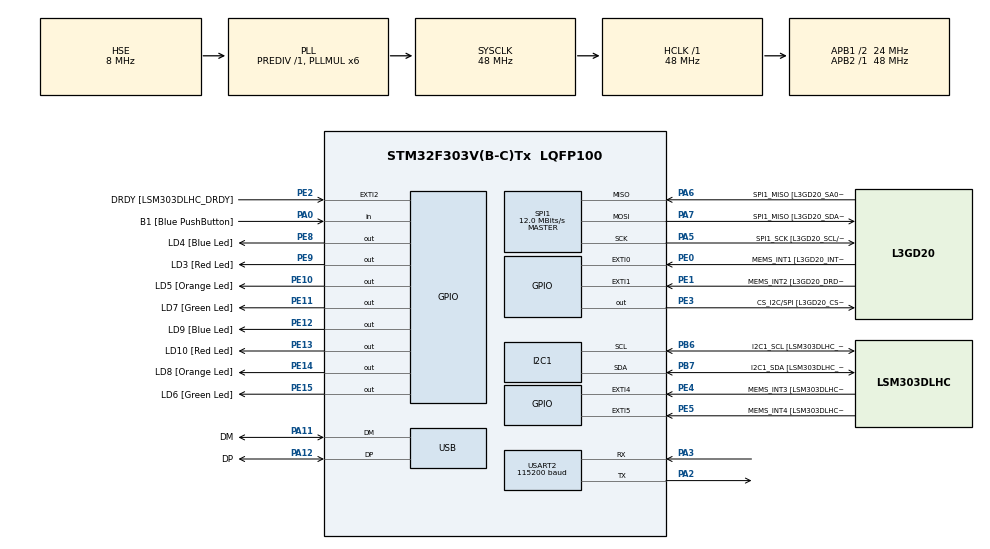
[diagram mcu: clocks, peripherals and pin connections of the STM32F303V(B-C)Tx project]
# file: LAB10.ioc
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I2C1.Timing=0x2000090E
I2C1.Timing-I2C=0x2000090E
Mcu.Family=STM32F3
Mcu.Name=STM32F303V(B-C)Tx
Mcu.Package=LQFP100
NVIC.PriorityGroup=NVIC_PRIORITYGROUP_0
PA0.GPIO_Label=B1 [Blue PushButton]
PA0.Signal=GPIO_Input
PA11.GPIO_Label=DM
PA11.Mode=Device
PA11.Signal=USB_DM
PA12.GPIO_Label=DP
PA12.Mode=Device
PA12.Signal=USB_DP
PA13.GPIO_Label=SWDIO
PA13.Mode=Serial_Wire
PA13.Signal=SYS_JTMS-SWDIO
PA14.GPIO_Label=SWCLK
PA14.Mode=Serial_Wire
PA14.Signal=SYS_JTCK-SWCLK
PA2.Mode=Asynchronous
PA2.Signal=USART2_TX
PA3.Mode=Asynchronous
PA3.Signal=USART2_RX
PA5.GPIO_Label=SPI1_SCK [L3GD20_SCL/SPC]
PA5.Mode=Full_Duplex_Master
PA5.Signal=SPI1_SCK
PA6.GPIO_Label=SPI1_MISO [L3GD20_SA0/SDO]
PA6.Mode=Full_Duplex_Master
PA6.Signal=SPI1_MISO
PA7.GPIO_Label=SPI1_MISO [L3GD20_SDA/SDI/SDO]
PA7.Mode=Full_Duplex_Master
PA7.Signal=SPI1_MOSI
PB3.GPIO_Label=SWO
PB3.Signal=SYS_JTDO-TRACESWO
PB6.GPIO_Label=I2C1_SCL [LSM303DLHC_SCL]
PB6.GPIO_Pu=GPIO_PULLUP
PB6.Mode=I2C
PB6.Signal=I2C1_SCL
PB7.GPIO_Label=I2C1_SDA [LSM303DLHC_SDA]
PB7.GPIO_Pu=GPIO_PULLUP
PB7.Mode=I2C
PB7.Signal=I2C1_SDA
PC14-OSC32_IN.GPIO_Label=OSC32_IN
PC14-OSC32_IN.Signal=RCC_OSC32_IN
PC15-OSC32_OUT.GPIO_Label=OSC32_OUT
PC15-OSC32_OUT.Signal=RCC_OSC32_OUT
PE0.GPIO_Label=MEMS_INT1 [L3GD20_INT1]
PE0.GPIO_ModeDefaultEXTI=GPIO_MODE_EVT_RISING
PE0.Signal=GPXTI0
PE1.GPIO_Label=MEMS_INT2 [L3GD20_DRDY/INT2]
PE1.GPIO_ModeDefaultEXTI=GPIO_MODE_EVT_RISING
PE1.Signal=GPXTI1
PE10.GPIO_Label=LD5 [Orange Led]
PE10.Signal=GPIO_Output
PE11.GPIO_Label=LD7 [Green Led]
PE11.Signal=GPIO_Output
PE12.GPIO_Label=LD9 [Blue Led]
PE12.Signal=GPIO_Output
PE13.GPIO_Label=LD10 [Red Led]
PE13.Signal=GPIO_Output
PE14.GPIO_Label=LD8 [Orange Led]
PE14.Signal=GPIO_Output
PE15.GPIO_Label=LD6 [Green Led]
PE15.Signal=GPIO_Output
PE2.GPIO_Label=DRDY [LSM303DLHC_DRDY]
PE2.GPIO_ModeDefaultEXTI=GPIO_MODE_EVT_RISING
PE2.Signal=GPXTI2
PE3.GPIO_Label=CS_I2C/SPI [L3GD20_CS_I2C/SPI]
PE3.Signal=GPIO_Output
PE4.GPIO_Label=MEMS_INT3 [LSM303DLHC_INT1]
PE4.GPIO_ModeDefaultEXTI=GPIO_MODE_EVT_RISING
PE4.Signal=GPXTI4
PE5.GPIO_Label=MEMS_INT4 [LSM303DLHC_INT2]
PE5.GPIO_ModeDefaultEXTI=GPIO_MODE_EVT_RISING
PE5.Signal=GPXTI5
PE8.GPIO_Label=LD4 [Blue Led]
PE8.Signal=GPIO_Output
PE9.GPIO_Label=LD3 [Red Led]
PE9.Signal=GPIO_Output
PF0-OSC_IN.GPIO_Label=OSC_IN
PF0-OSC_IN.Mode=HSE-External-Clock-Source
PF0-OSC_IN.Signal=RCC_OSC_IN
PF1-OSC_OUT.GPIO_Label=OSC_OUT
PF1-OSC_OUT.Signal=RCC_OSC_OUT
ProjectManager.HeapSize=0x200
ProjectManager.StackSize=0x400
ProjectManager.TargetToolchain=CMake
RCC.AHBFreq_Value=48000000
RCC.APB1CLKDivider=RCC_HCLK_DIV2
RCC.APB1Freq_Value=24000000
RCC.APB1TimFreq_Value=48000000
RCC.APB2Freq_Value=48000000
RCC.APB2TimFreq_Value=48000000
RCC.CortexFreq_Value=48000000
RCC.HCLKFreq_Value=48000000
RCC.HSE_VALUE=8000000
RCC.HSI_VALUE=8000000
RCC.LSE_VALUE=32768
RCC.PLLMUL=RCC_PLL_MUL6
RCC.SYSCLKFreq_VALUE=48000000
RCC.SYSCLKSourceVirtual=RCC_SYSCLKSOURCE_PLLCLK
RCC.USBFreq_Value=48000000
SPI1.BaudRatePrescaler=SPI_BAUDRATEPRESCALER_4
SPI1.BaudRatePrescaler-Full_Duplex_Master=SPI_BAUDRATEPRESCALER_2
SPI1.CalculateBaudRate=12.0 MBits/s
SPI1.CalculateBaudRate-Full_Duplex_Master=24.0 MBits/s
SPI1.Direction=SPI_DIRECTION_2LINES
SPI1.Mode=SPI_MODE_MASTER
SPI1.Mode-Full_Duplex_Master=SPI_MODE_MASTER
SPI1.VirtualType=VM_MASTER
USART2.BaudRate=115200
USART2.VirtualMode-Asynchronous=VM_ASYNC
board=STM32F3DISCOVERY

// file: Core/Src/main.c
/* USER CODE BEGIN Header */
/**
  ******************************************************************************
  * @file           : main.c
  * @brief          : Main program body
  ******************************************************************************
  * @attention
  *
  * Copyright (c) 2025 STMicroelectronics.
  * All rights reserved.
  *
  * This software is licensed under terms that can be found in the LICENSE file
  * in the root directory of this software component.
  * If no LICENSE file comes with this software, it is provided AS-IS.
  *
  ******************************************************************************
  */
/* USER CODE END Header */
#include "main.h"
#include "heap_driver.h"
#include <stdlib.h>
#include <string.h>
#include <stdio.h>
#include <stdarg.h>

I2C_HandleTypeDef hi2c1;

SPI_HandleTypeDef hspi1;

UART_HandleTypeDef huart2;

PCD_HandleTypeDef hpcd_USB_FS;

/* USER CODE BEGIN PV */
#define N 10  // Number of elements

/* USER CODE END PV */

void SystemClock_Config(void);
static void MX_GPIO_Init(void);
static void MX_I2C1_Init(void);
static void MX_SPI1_Init(void);
static void MX_USART2_UART_Init(void);
static void MX_USB_PCD_Init(void);

/* USER CODE BEGIN 0 */
void UART_Print(const char* str) {
    HAL_UART_Transmit(&huart2, (uint8_t*)str, strlen(str), HAL_MAX_DELAY);
}

// Helper function to print formatted output
void UART_Printf(const char* format, ...) {
    char buffer[100];
    va_list args;
    va_start(args, format);
    vsnprintf(buffer, sizeof(buffer), format, args);
    va_end(args);
    UART_Print(buffer);
}
/* USER CODE END 0 */

int main(void)
{

  /* USER CODE BEGIN 1 */
  int *malloc_array = NULL;
  int *calloc_array = NULL;
  /* USER CODE END 1 */

  /* MCU Configuration--------------------------------------------------------*/

  /* Reset of all peripherals, Initializes the Flash interface and the Systick. */
  HAL_Init();

  /* Configure the system clock */
  SystemClock_Config();

  /* Initialize all configured peripherals */
  MX_GPIO_Init();
  MX_I2C1_Init();
  MX_SPI1_Init();
  MX_USART2_UART_Init();
  MX_USB_PCD_Init();
  /* USER CODE BEGIN 2 */
  UART_Print("\r\n=== Task 1: Dynamic Memory Allocation ===\r\n\r\n");

  // (b) Allocate array using malloc
  UART_Print("Step 1: Allocating array with malloc...\r\n");
  malloc_array = (int*)malloc(N * sizeof(int));

  if (malloc_array == NULL) {
      UART_Print("ERROR: malloc() failed!\r\n");
      Error_Handler();
  }

  UART_Print("malloc() successful. Initializing array...\r\n");

  // Initialize malloc array: arr[i] = i * 2
  for (int i = 0; i < N; i++) {
      malloc_array[i] = i * 2;
  }

  // (c) Allocate array using calloc
  UART_Print("\r\nStep 2: Allocating array with calloc...\r\n");
  calloc_array = (int*)calloc(N, sizeof(int));

  if (calloc_array == NULL) {
      UART_Print("ERROR: calloc() failed!\r\n");
      free(malloc_array);  // Clean up previously allocated memory
      Error_Handler();
  }

  UART_Print("calloc() successful. Verifying zero-initialization...\r\n");

  // Verify calloc initialized to zero
  int all_zero = 1;
  for (int i = 0; i < N; i++) {
      if (calloc_array[i] != 0) {
          all_zero = 0;
          break;
      }
  }

  if (all_zero) {
      UART_Print("Confirmed: All elements are zero-initialized.\r\n");
  } else {
      UART_Print("WARNING: calloc() did not zero-initialize!\r\n");
  }

  // Initialize calloc array: arr[i] = i + 1
  UART_Print("Initializing calloc array...\r\n");
  for (int i = 0; i < N; i++) {
      calloc_array[i] = i + 1;
  }

  // (d) Print contents of both arrays
  UART_Print("\r\n--- malloc() Array Contents ---\r\n");
  for (int i = 0; i < N; i++) {
      UART_Printf("malloc_array[%d] = %d\r\n", i, malloc_array[i]);
  }

  UART_Print("\r\n--- calloc() Array Contents ---\r\n");
  for (int i = 0; i < N; i++) {
      UART_Printf("calloc_array[%d] = %d\r\n", i, calloc_array[i]);
  }

  // (e) Deallocate both arrays
  UART_Print("\r\nStep 3: Freeing allocated memory...\r\n");
  free(malloc_array);
  free(calloc_array);

  // (f) Set pointers to NULL
  malloc_array = NULL;
  calloc_array = NULL;

  // (g) Final message
  UART_Print("Memory successfully freed and pointers set to NULL.\r\n");
  UART_Print("\r\n=== Task 1 Complete ===\r\n \r\n \r\n");

  // Print a message over UART to indicate the start of the test.
  UART_Print("=== Custom Heap Driver (Direct SRAM) ===\r\n");

  // Initialize the custom heap allocator.
  // This function sets up internal memory structures (e.g., the block_map array)
  // so that all heap memory is marked as free.
  // It MUST be called before using heap_alloc or heap_free.
  heap_init();

  // Allocate 32 bytes from the heap.
  // heap_alloc returns a pointer to a memory region in SRAM that is at least 32 bytes long.
  // We cast the void* return type to char* so we can use string functions like strcpy.
  char* block1 = (char*)heap_alloc(32);

  // Allocate 48 bytes from the heap.
  char* block2 = (char*)heap_alloc(48);

  // Check if both allocations were successful (i.e., the returned pointers are not NULL).
  if (block1 && block2) {
      // If successful, store strings into the allocated memory regions.
      // Since the memory comes from our own heap allocator, we assume it behaves like malloc.
      strcpy(block1, "Data in Block 1");    // Copy string into the memory allocated in block1
      strcpy(block2, "Text from Block 2");  // Copy string into the memory allocated in block2

      // Print the contents of both blocks over UART.
      // This confirms that memory was correctly allocated and can be accessed.
      UART_Print(block1);
      UART_Print("\r\n");
      UART_Print(block2);
      UART_Print("\r\n");

  } else {
      // If either allocation failed (due to insufficient memory or a bug), print an error message.
      UART_Print("Allocation failed.\r\n");
  }

  // Free the memory blocks that were previously allocated.
  // This makes them available again for future calls to heap_alloc.
  // It's important to always free memory when you're done using it to avoid memory leaks.
  heap_free(block1);
  heap_free(block2);

  // Print a confirmation that memory has been freed.
  UART_Print("Blocks freed.\r\n");

  /* USER CODE END 2 */

  /* USER CODE END 2 */

  /* Infinite loop */
  while (1)
  {
  }
}

void SystemClock_Config(void)
{
  RCC_OscInitTypeDef RCC_OscInitStruct = {0};
  RCC_ClkInitTypeDef RCC_ClkInitStruct = {0};
  RCC_PeriphCLKInitTypeDef PeriphClkInit = {0};

  /** Initializes the RCC Oscillators according to the specified parameters
  * in the RCC_OscInitTypeDef structure.
  */
  RCC_OscInitStruct.OscillatorType = RCC_OSCILLATORTYPE_HSI|RCC_OSCILLATORTYPE_HSE;
  RCC_OscInitStruct.HSEState = RCC_HSE_BYPASS;
  RCC_OscInitStruct.HSEPredivValue = RCC_HSE_PREDIV_DIV1;
  RCC_OscInitStruct.HSIState = RCC_HSI_ON;
  RCC_OscInitStruct.HSICalibrationValue = RCC_HSICALIBRATION_DEFAULT;
  RCC_OscInitStruct.PLL.PLLState = RCC_PLL_ON;
  RCC_OscInitStruct.PLL.PLLSource = RCC_PLLSOURCE_HSE;
  RCC_OscInitStruct.PLL.PLLMUL = RCC_PLL_MUL6;
  if (HAL_RCC_OscConfig(&RCC_OscInitStruct) != HAL_OK)
  {
    Error_Handler();
  }

  /** Initializes the CPU, AHB and APB buses clocks
  */
  RCC_ClkInitStruct.ClockType = RCC_CLOCKTYPE_HCLK|RCC_CLOCKTYPE_SYSCLK
                              |RCC_CLOCKTYPE_PCLK1|RCC_CLOCKTYPE_PCLK2;
  RCC_ClkInitStruct.SYSCLKSource = RCC_SYSCLKSOURCE_PLLCLK;
  RCC_ClkInitStruct.AHBCLKDivider = RCC_SYSCLK_DIV1;
  RCC_ClkInitStruct.APB1CLKDivider = RCC_HCLK_DIV2;
  RCC_ClkInitStruct.APB2CLKDivider = RCC_HCLK_DIV1;

  if (HAL_RCC_ClockConfig(&RCC_ClkInitStruct, FLASH_LATENCY_1) != HAL_OK)
  {
    Error_Handler();
  }
  PeriphClkInit.PeriphClockSelection = RCC_PERIPHCLK_USB|RCC_PERIPHCLK_USART2
                              |RCC_PERIPHCLK_I2C1;
  PeriphClkInit.Usart2ClockSelection = RCC_USART2CLKSOURCE_PCLK1;
  PeriphClkInit.I2c1ClockSelection = RCC_I2C1CLKSOURCE_HSI;
  PeriphClkInit.USBClockSelection = RCC_USBCLKSOURCE_PLL;
  if (HAL_RCCEx_PeriphCLKConfig(&PeriphClkInit) != HAL_OK)
  {
    Error_Handler();
  }
}

static void MX_I2C1_Init(void)
{

  hi2c1.Instance = I2C1;
  hi2c1.Init.Timing = 0x2000090E;
  hi2c1.Init.OwnAddress1 = 0;
  hi2c1.Init.AddressingMode = I2C_ADDRESSINGMODE_7BIT;
  hi2c1.Init.DualAddressMode = I2C_DUALADDRESS_DISABLE;
  hi2c1.Init.OwnAddress2 = 0;
  hi2c1.Init.OwnAddress2Masks = I2C_OA2_NOMASK;
  hi2c1.Init.GeneralCallMode = I2C_GENERALCALL_DISABLE;
  hi2c1.Init.NoStretchMode = I2C_NOSTRETCH_DISABLE;
  if (HAL_I2C_Init(&hi2c1) != HAL_OK)
  {
    Error_Handler();
  }

  /** Configure Analogue filter
  */
  if (HAL_I2CEx_ConfigAnalogFilter(&hi2c1, I2C_ANALOGFILTER_ENABLE) != HAL_OK)
  {
    Error_Handler();
  }

  /** Configure Digital filter
  */
  if (HAL_I2CEx_ConfigDigitalFilter(&hi2c1, 0) != HAL_OK)
  {
    Error_Handler();
  }

}

static void MX_SPI1_Init(void)
{

  /* SPI1 parameter configuration*/
  hspi1.Instance = SPI1;
  hspi1.Init.Mode = SPI_MODE_MASTER;
  hspi1.Init.Direction = SPI_DIRECTION_2LINES;
  hspi1.Init.DataSize = SPI_DATASIZE_4BIT;
  hspi1.Init.CLKPolarity = SPI_POLARITY_LOW;
  hspi1.Init.CLKPhase = SPI_PHASE_1EDGE;
  hspi1.Init.NSS = SPI_NSS_SOFT;
  hspi1.Init.BaudRatePrescaler = SPI_BAUDRATEPRESCALER_4;
  hspi1.Init.FirstBit = SPI_FIRSTBIT_MSB;
  hspi1.Init.TIMode = SPI_TIMODE_DISABLE;
  hspi1.Init.CRCCalculation = SPI_CRCCALCULATION_DISABLE;
  hspi1.Init.CRCPolynomial = 7;
  hspi1.Init.CRCLength = SPI_CRC_LENGTH_DATASIZE;
  hspi1.Init.NSSPMode = SPI_NSS_PULSE_ENABLE;
  if (HAL_SPI_Init(&hspi1) != HAL_OK)
  {
    Error_Handler();
  }

}

static void MX_USART2_UART_Init(void)
{

  huart2.Instance = USART2;
  huart2.Init.BaudRate = 115200;
  huart2.Init.WordLength = UART_WORDLENGTH_8B;
  huart2.Init.StopBits = UART_STOPBITS_1;
  huart2.Init.Parity = UART_PARITY_NONE;
  huart2.Init.Mode = UART_MODE_TX_RX;
  huart2.Init.HwFlowCtl = UART_HWCONTROL_NONE;
  huart2.Init.OverSampling = UART_OVERSAMPLING_16;
  huart2.Init.OneBitSampling = UART_ONE_BIT_SAMPLE_DISABLE;
  huart2.AdvancedInit.AdvFeatureInit = UART_ADVFEATURE_NO_INIT;
  if (HAL_UART_Init(&huart2) != HAL_OK)
  {
    Error_Handler();
  }

}

static void MX_USB_PCD_Init(void)
{

  hpcd_USB_FS.Instance = USB;
  hpcd_USB_FS.Init.dev_endpoints = 8;
  hpcd_USB_FS.Init.speed = PCD_SPEED_FULL;
  hpcd_USB_FS.Init.phy_itface = PCD_PHY_EMBEDDED;
  hpcd_USB_FS.Init.low_power_enable = DISABLE;
  hpcd_USB_FS.Init.battery_charging_enable = DISABLE;
  if (HAL_PCD_Init(&hpcd_USB_FS) != HAL_OK)
  {
    Error_Handler();
  }

}

static void MX_GPIO_Init(void)
{
  GPIO_InitTypeDef GPIO_InitStruct = {0};

  /* GPIO Ports Clock Enable */
  __HAL_RCC_GPIOE_CLK_ENABLE();
  __HAL_RCC_GPIOC_CLK_ENABLE();
  __HAL_RCC_GPIOF_CLK_ENABLE();
  __HAL_RCC_GPIOA_CLK_ENABLE();
  __HAL_RCC_GPIOB_CLK_ENABLE();

  /*Configure GPIO pin Output Level */
  HAL_GPIO_WritePin(GPIOE, CS_I2C_SPI_Pin|LD4_Pin|LD3_Pin|LD5_Pin
                          |LD7_Pin|LD9_Pin|LD10_Pin|LD8_Pin
                          |LD6_Pin, GPIO_PIN_RESET);

  /*Configure GPIO pins : DRDY_Pin MEMS_INT3_Pin MEMS_INT4_Pin MEMS_INT1_Pin
                           MEMS_INT2_Pin */
  GPIO_InitStruct.Pin = DRDY_Pin|MEMS_INT3_Pin|MEMS_INT4_Pin|MEMS_INT1_Pin
                          |MEMS_INT2_Pin;
  GPIO_InitStruct.Mode = GPIO_MODE_EVT_RISING;
  GPIO_InitStruct.Pull = GPIO_NOPULL;
  HAL_GPIO_Init(GPIOE, &GPIO_InitStruct);

  /*Configure GPIO pins : CS_I2C_SPI_Pin LD4_Pin LD3_Pin LD5_Pin
                           LD7_Pin LD9_Pin LD10_Pin LD8_Pin
                           LD6_Pin */
  GPIO_InitStruct.Pin = CS_I2C_SPI_Pin|LD4_Pin|LD3_Pin|LD5_Pin
                          |LD7_Pin|LD9_Pin|LD10_Pin|LD8_Pin
                          |LD6_Pin;
  GPIO_InitStruct.Mode = GPIO_MODE_OUTPUT_PP;
  GPIO_InitStruct.Pull = GPIO_NOPULL;
  GPIO_InitStruct.Speed = GPIO_SPEED_FREQ_LOW;
  HAL_GPIO_Init(GPIOE, &GPIO_InitStruct);

  /*Configure GPIO pin : B1_Pin */
  GPIO_InitStruct.Pin = B1_Pin;
  GPIO_InitStruct.Mode = GPIO_MODE_INPUT;
  GPIO_InitStruct.Pull = GPIO_NOPULL;
  HAL_GPIO_Init(B1_GPIO_Port, &GPIO_InitStruct);

}

void Error_Handler(void)
{
  __disable_irq();
  while (1)
  {
  }
}
